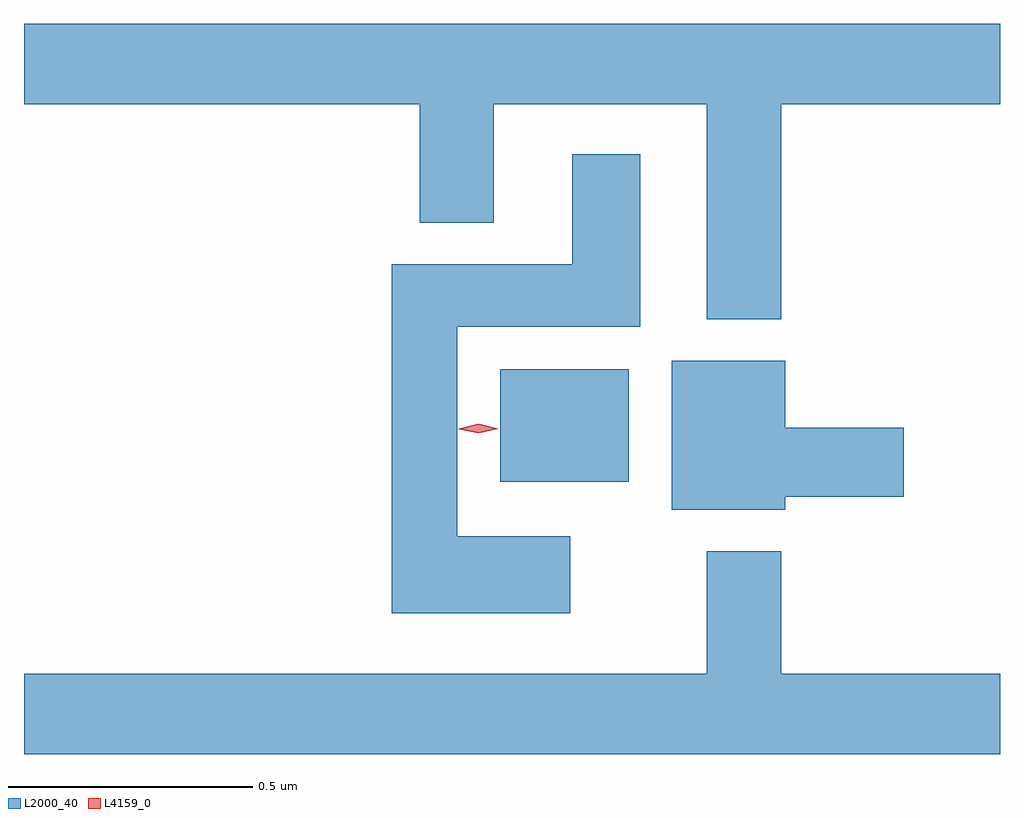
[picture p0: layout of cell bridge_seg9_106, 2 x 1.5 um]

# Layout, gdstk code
import gdstk
lib = gdstk.Library(unit=1e-6, precision=1e-09)
def R(c, l, rs):  # rectangles x0, y0, x1, y1
    for r in rs: c.add(gdstk.rectangle(r[:2], r[2:], *l))
def P(c, l, *ps):  # polygons
    for p in ps: c.add(gdstk.Polygon(p, *l))
L2000_40 = (2000, 40)
L4159_0 = (4159, 0)

bridge_seg9_106 = lib.new_cell('bridge_seg9_106')
R(bridge_seg9_106, L2000_40, [(772.076,1171.67,772.339,1171.9)])
P(bridge_seg9_106, L2000_40, [(772.652,1172.444),(773.1,1172.444),(773.1,1172.608),(771.1,1172.608),(771.1,1172.444),(771.911,1172.444),(771.911,1172.201),(772.063,1172.201),(772.063,1172.444),(772.499,1172.444),(772.499,1172.003),(772.652,1172.003)],
  [(772.219,1171.558),(771.988,1171.558),(771.988,1171.988),(772.363,1171.988),(772.363,1172.341),(772.223,1172.341),(772.223,1172.116),(771.854,1172.116),(771.854,1171.4),(772.219,1171.4)],
  [(772.66,1171.639),(772.903,1171.639),(772.903,1171.781),(772.66,1171.781),(772.66,1171.918),(772.427,1171.918),(772.427,1171.613),(772.66,1171.613)],
  [(773.1,1171.276),(772.652,1171.276),(772.652,1171.528),(772.499,1171.528),(772.499,1171.276),(771.1,1171.276),(771.1,1171.112),(773.1,1171.112)])
P(bridge_seg9_106, L4159_0, [(772.032,1171.769),(771.991,1171.778),(771.991,1171.778),(771.991,1171.779),(772.032,1171.789),(772.072,1171.779),(772.072,1171.779),(772.072,1171.779)])

lib.write_gds('bridge_seg9_106.gds')
